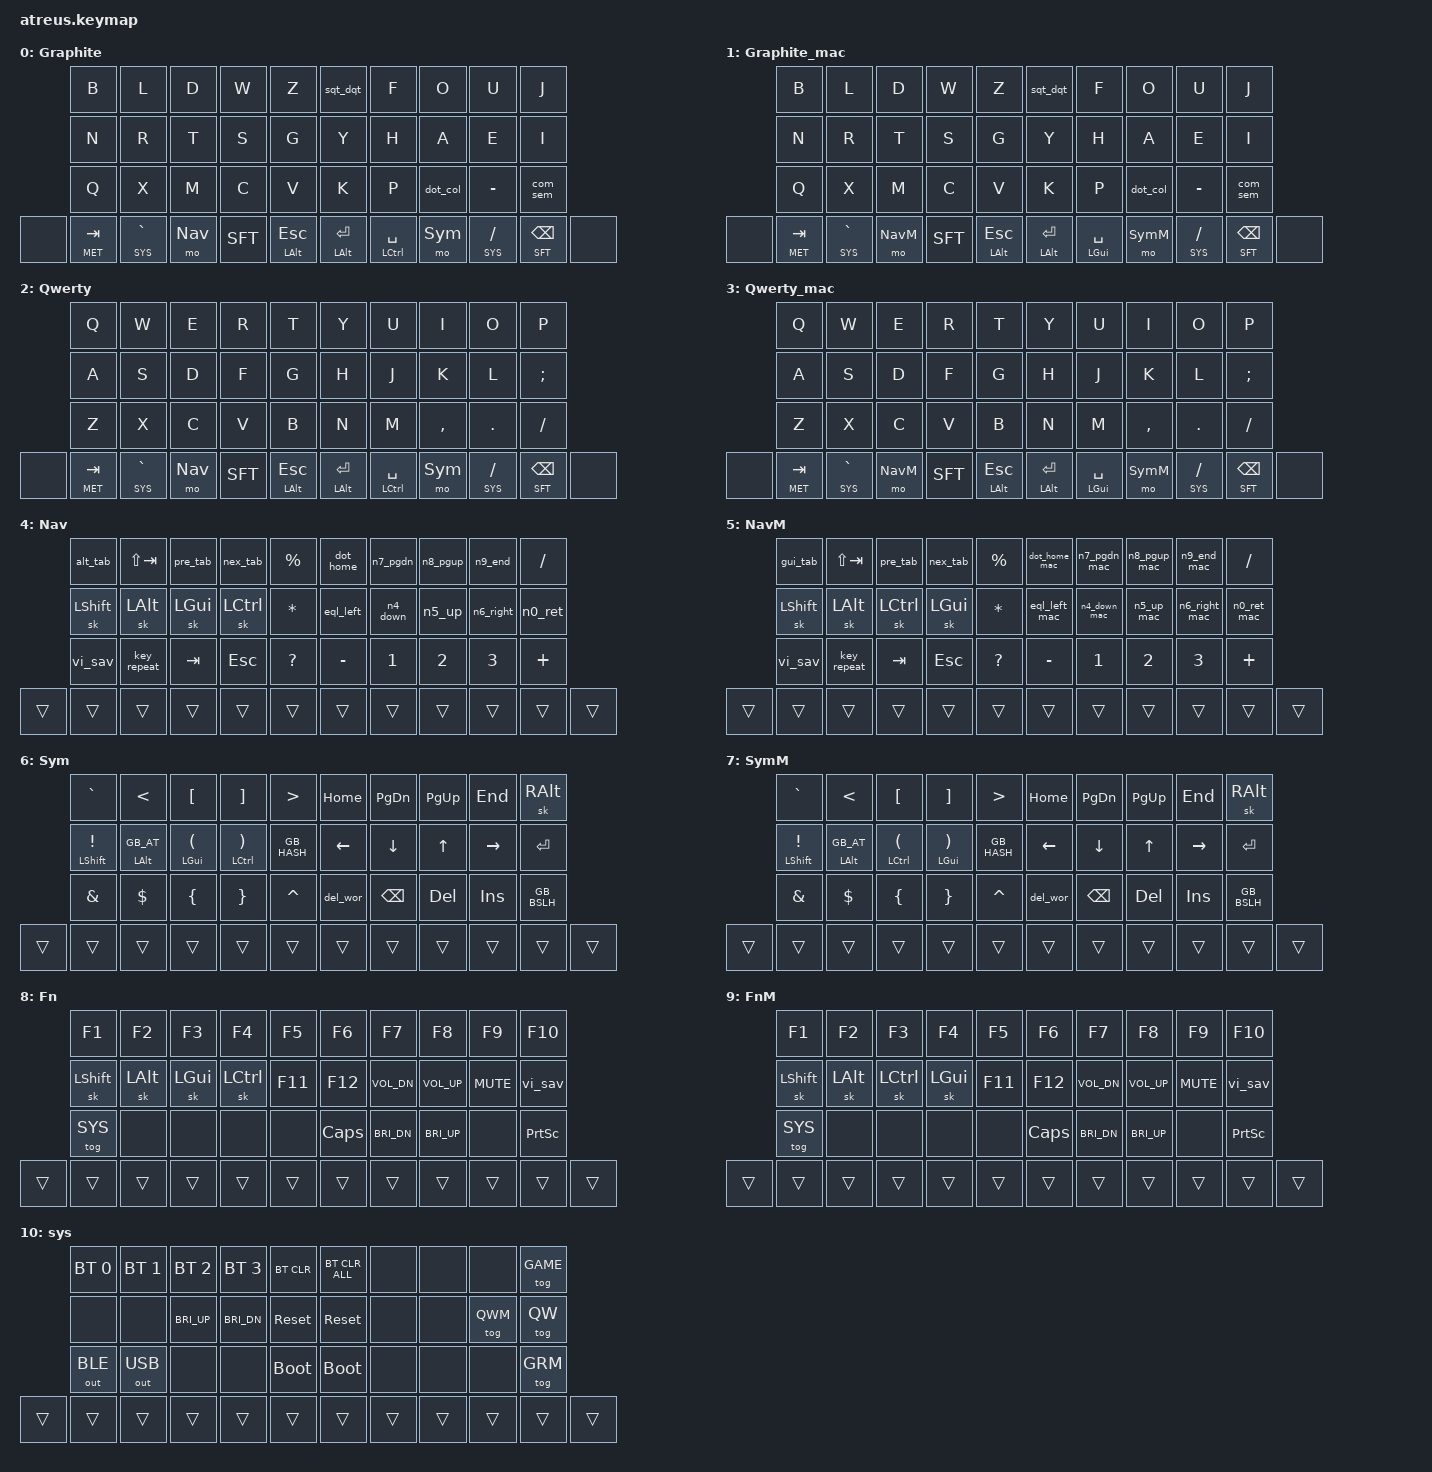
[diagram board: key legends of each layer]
// Auto-generated ZMK Keymap by Python zmk_gen system. DO NOT EDIT DIRECTLY.
#include <dt-bindings/zmk/keys.h>
#include <behaviors.dtsi>
#include <dt-bindings/zmk/bt.h>
#include <dt-bindings/zmk/outputs.h>
#include <zmk-helpers/helper.h>

#define PRIOR_IDLE_MS 160
#define QUICK_TAP_MS 175
#define TAPPING_TERM 200

#undef COMBO_TERM
#define COMBO_TERM 50

#define KEYS_L 0 1 2 3 4 10 11 12 13 14 20 21 22 23 24
#define KEYS_R 5 6 7 8 9 15 16 17 18 19 25 26 27 28 29
#define THUMBS 30 31 32 33 34 35 36 37 38 39 40 41

/* All Other Behaviors */
&sk {
    release-after-ms = <1000>;
    quick-release;
};

&lt {
    tapping-term-ms = <TAPPING_TERM>;
    quick-tap-ms = <QUICK_TAP_MS>;
    flavor = "hold-preferred";
};

&mt {
    tapping-term-ms = <TAPPING_TERM>;
    quick-tap-ms = <QUICK_TAP_MS>;
    flavor = "hold-preferred";
};

&caps_word {
    continue-list = <UNDERSCORE MINUS BACKSPACE DELETE>;
    /delete-property/ ignore-modifiers;
};

/* Layer ID Definitions */
#define Graphite 0
#define Graphite_mac 1
#define Qwerty 2
#define Qwerty_mac 3
#define Nav 4
#define NavM 5
#define Sym 6
#define SymM 7
#define Fn 8
#define FnM 9
#define sys 10

/ {
    macros {
        uc_deg: uc_deg {
            compatible = "zmk,behavior-macro";
            #binding-cells = <0>;
            bindings = <&kp RALT, &kp O, &kp O>;
        };
        uc_gbp: uc_gbp {
            compatible = "zmk,behavior-macro";
            #binding-cells = <0>;
            bindings = <&kp RALT, &kp LS(L), &kp EQL>;
        };
        uc_eur: uc_eur {
            compatible = "zmk,behavior-macro";
            #binding-cells = <0>;
            bindings = <&kp RALT, &kp C, &kp EQL>;
        };
        uc_rup: uc_rup {
            compatible = "zmk,behavior-macro";
            #binding-cells = <0>;
            bindings = <&kp RALT, &kp R, &kp EQL>;
        };
        vi_sav: vi_sav {
            compatible = "zmk,behavior-macro";
            #binding-cells = <0>;
            wait-ms = <20>;
            bindings = <&kp ESC, &kp COLON, &kp W, &kp RET>;
        };
        find: find {
            compatible = "zmk,behavior-macro";
            #binding-cells = <0>;
            bindings = <&kp LC(F)>;
        };
        pre_wor: pre_wor {
            compatible = "zmk,behavior-macro";
            #binding-cells = <0>;
            bindings = <&kp LC(LEFT)>;
        };
        nex_wor: nex_wor {
            compatible = "zmk,behavior-macro";
            #binding-cells = <0>;
            bindings = <&kp LC(RIGHT)>;
        };
        pre_tab: pre_tab {
            compatible = "zmk,behavior-macro";
            #binding-cells = <0>;
            bindings = <&kp LC(LS(TAB))>;
        };
        nex_tab: nex_tab {
            compatible = "zmk,behavior-macro";
            #binding-cells = <0>;
            bindings = <&kp LC(TAB)>;
        };
        pre_dsk: pre_dsk {
            compatible = "zmk,behavior-macro";
            #binding-cells = <0>;
            bindings = <&kp LC(LG(LEFT))>;
        };
        nex_dsk: nex_dsk {
            compatible = "zmk,behavior-macro";
            #binding-cells = <0>;
            bindings = <&kp LC(LG(RIGHT))>;
        };
        cut: cut {
            compatible = "zmk,behavior-macro";
            #binding-cells = <0>;
            bindings = <&kp LC(X)>;
        };
        copy: copy {
            compatible = "zmk,behavior-macro";
            #binding-cells = <0>;
            bindings = <&kp LC(C)>;
        };
        paste: paste {
            compatible = "zmk,behavior-macro";
            #binding-cells = <0>;
            bindings = <&kp LC(V)>;
        };
        half_dn: half_dn {
            compatible = "zmk,behavior-macro";
            #binding-cells = <0>;
            bindings = <&kp LC(D)>;
        };
        half_up: half_up {
            compatible = "zmk,behavior-macro";
            #binding-cells = <0>;
            bindings = <&kp LC(U)>;
        };
        del_wor: del_wor {
            compatible = "zmk,behavior-macro";
            #binding-cells = <0>;
            bindings = <&kp LC(BSPC)>;
        };
        macro_LCTL_Nav: macro_LCTL_Nav {
            compatible = "zmk,behavior-macro";
            #binding-cells = <0>;
            wait-ms = <0>;
            tap-ms = <0>;
            bindings
                = <&macro_press &mo Nav>
                , <&macro_press &sk LCTL>
                , <&macro_pause_for_release>
                , <&macro_release &sk LCTL>
                , <&macro_release &mo Nav>
                ;
        };
        macro_LGUI_NavM: macro_LGUI_NavM {
            compatible = "zmk,behavior-macro";
            #binding-cells = <0>;
            wait-ms = <0>;
            tap-ms = <0>;
            bindings
                = <&macro_press &mo NavM>
                , <&macro_press &sk LGUI>
                , <&macro_pause_for_release>
                , <&macro_release &sk LGUI>
                , <&macro_release &mo NavM>
                ;
        };
        macro_LGUI_Nav: macro_LGUI_Nav {
            compatible = "zmk,behavior-macro";
            #binding-cells = <0>;
            wait-ms = <0>;
            tap-ms = <0>;
            bindings
                = <&macro_press &mo Nav>
                , <&macro_press &sk LGUI>
                , <&macro_pause_for_release>
                , <&macro_release &sk LGUI>
                , <&macro_release &mo Nav>
                ;
        };
        macro_LCTL_NavM: macro_LCTL_NavM {
            compatible = "zmk,behavior-macro";
            #binding-cells = <0>;
            wait-ms = <0>;
            tap-ms = <0>;
            bindings
                = <&macro_press &mo NavM>
                , <&macro_press &sk LCTL>
                , <&macro_pause_for_release>
                , <&macro_release &sk LCTL>
                , <&macro_release &mo NavM>
                ;
        };
        macro_LALT_Nav: macro_LALT_Nav {
            compatible = "zmk,behavior-macro";
            #binding-cells = <0>;
            wait-ms = <0>;
            tap-ms = <0>;
            bindings
                = <&macro_press &mo Nav>
                , <&macro_press &sk LALT>
                , <&macro_pause_for_release>
                , <&macro_release &sk LALT>
                , <&macro_release &mo Nav>
                ;
        };
        macro_LSHFT_Nav: macro_LSHFT_Nav {
            compatible = "zmk,behavior-macro";
            #binding-cells = <0>;
            wait-ms = <0>;
            tap-ms = <0>;
            bindings
                = <&macro_press &mo Nav>
                , <&macro_press &sk LSHFT>
                , <&macro_pause_for_release>
                , <&macro_release &sk LSHFT>
                , <&macro_release &mo Nav>
                ;
        };
        macro_LGUI_LCTL_Nav: macro_LGUI_LCTL_Nav {
            compatible = "zmk,behavior-macro";
            #binding-cells = <0>;
            wait-ms = <0>;
            tap-ms = <0>;
            bindings
                = <&macro_press &mo Nav>
                , <&macro_press &sk LGUI>
                , <&macro_press &sk LCTL>
                , <&macro_pause_for_release>
                , <&macro_release &sk LCTL>
                , <&macro_release &sk LGUI>
                , <&macro_release &mo Nav>
                ;
        };
        macro_LCTL_LGUI_NavM: macro_LCTL_LGUI_NavM {
            compatible = "zmk,behavior-macro";
            #binding-cells = <0>;
            wait-ms = <0>;
            tap-ms = <0>;
            bindings
                = <&macro_press &mo NavM>
                , <&macro_press &sk LCTL>
                , <&macro_press &sk LGUI>
                , <&macro_pause_for_release>
                , <&macro_release &sk LGUI>
                , <&macro_release &sk LCTL>
                , <&macro_release &mo NavM>
                ;
        };
        macro_LGUI_LALT_Nav: macro_LGUI_LALT_Nav {
            compatible = "zmk,behavior-macro";
            #binding-cells = <0>;
            wait-ms = <0>;
            tap-ms = <0>;
            bindings
                = <&macro_press &mo Nav>
                , <&macro_press &sk LGUI>
                , <&macro_press &sk LALT>
                , <&macro_pause_for_release>
                , <&macro_release &sk LALT>
                , <&macro_release &sk LGUI>
                , <&macro_release &mo Nav>
                ;
        };
        macro_LCTL_LALT_NavM: macro_LCTL_LALT_NavM {
            compatible = "zmk,behavior-macro";
            #binding-cells = <0>;
            wait-ms = <0>;
            tap-ms = <0>;
            bindings
                = <&macro_press &mo NavM>
                , <&macro_press &sk LCTL>
                , <&macro_press &sk LALT>
                , <&macro_pause_for_release>
                , <&macro_release &sk LALT>
                , <&macro_release &sk LCTL>
                , <&macro_release &mo NavM>
                ;
        };
        macro_LGUI_LSHFT_Nav: macro_LGUI_LSHFT_Nav {
            compatible = "zmk,behavior-macro";
            #binding-cells = <0>;
            wait-ms = <0>;
            tap-ms = <0>;
            bindings
                = <&macro_press &mo Nav>
                , <&macro_press &sk LGUI>
                , <&macro_press &sk LSHFT>
                , <&macro_pause_for_release>
                , <&macro_release &sk LSHFT>
                , <&macro_release &sk LGUI>
                , <&macro_release &mo Nav>
                ;
        };
        macro_LCTL_LSHFT_NavM: macro_LCTL_LSHFT_NavM {
            compatible = "zmk,behavior-macro";
            #binding-cells = <0>;
            wait-ms = <0>;
            tap-ms = <0>;
            bindings
                = <&macro_press &mo NavM>
                , <&macro_press &sk LCTL>
                , <&macro_press &sk LSHFT>
                , <&macro_pause_for_release>
                , <&macro_release &sk LSHFT>
                , <&macro_release &sk LCTL>
                , <&macro_release &mo NavM>
                ;
        };
        macro_LCTL_LALT_Nav: macro_LCTL_LALT_Nav {
            compatible = "zmk,behavior-macro";
            #binding-cells = <0>;
            wait-ms = <0>;
            tap-ms = <0>;
            bindings
                = <&macro_press &mo Nav>
                , <&macro_press &sk LCTL>
                , <&macro_press &sk LALT>
                , <&macro_pause_for_release>
                , <&macro_release &sk LALT>
                , <&macro_release &sk LCTL>
                , <&macro_release &mo Nav>
                ;
        };
        macro_LGUI_LALT_NavM: macro_LGUI_LALT_NavM {
            compatible = "zmk,behavior-macro";
            #binding-cells = <0>;
            wait-ms = <0>;
            tap-ms = <0>;
            bindings
                = <&macro_press &mo NavM>
                , <&macro_press &sk LGUI>
                , <&macro_press &sk LALT>
                , <&macro_pause_for_release>
                , <&macro_release &sk LALT>
                , <&macro_release &sk LGUI>
                , <&macro_release &mo NavM>
                ;
        };
        macro_LCTL_LSHFT_Nav: macro_LCTL_LSHFT_Nav {
            compatible = "zmk,behavior-macro";
            #binding-cells = <0>;
            wait-ms = <0>;
            tap-ms = <0>;
            bindings
                = <&macro_press &mo Nav>
                , <&macro_press &sk LCTL>
                , <&macro_press &sk LSHFT>
                , <&macro_pause_for_release>
                , <&macro_release &sk LSHFT>
                , <&macro_release &sk LCTL>
                , <&macro_release &mo Nav>
                ;
        };
        macro_LGUI_LSHFT_NavM: macro_LGUI_LSHFT_NavM {
            compatible = "zmk,behavior-macro";
            #binding-cells = <0>;
            wait-ms = <0>;
            tap-ms = <0>;
            bindings
                = <&macro_press &mo NavM>
                , <&macro_press &sk LGUI>
                , <&macro_press &sk LSHFT>
                , <&macro_pause_for_release>
                , <&macro_release &sk LSHFT>
                , <&macro_release &sk LGUI>
                , <&macro_release &mo NavM>
                ;
        };
        macro_LCTL_Sym: macro_LCTL_Sym {
            compatible = "zmk,behavior-macro";
            #binding-cells = <0>;
            wait-ms = <0>;
            tap-ms = <0>;
            bindings
                = <&macro_press &mo Sym>
                , <&macro_press &sk LCTL>
                , <&macro_pause_for_release>
                , <&macro_release &sk LCTL>
                , <&macro_release &mo Sym>
                ;
        };
        macro_LGUI_SymM: macro_LGUI_SymM {
            compatible = "zmk,behavior-macro";
            #binding-cells = <0>;
            wait-ms = <0>;
            tap-ms = <0>;
            bindings
                = <&macro_press &mo SymM>
                , <&macro_press &sk LGUI>
                , <&macro_pause_for_release>
                , <&macro_release &sk LGUI>
                , <&macro_release &mo SymM>
                ;
        };
        macro_LGUI_Sym: macro_LGUI_Sym {
            compatible = "zmk,behavior-macro";
            #binding-cells = <0>;
            wait-ms = <0>;
            tap-ms = <0>;
            bindings
                = <&macro_press &mo Sym>
                , <&macro_press &sk LGUI>
                , <&macro_pause_for_release>
                , <&macro_release &sk LGUI>
                , <&macro_release &mo Sym>
                ;
        };
        macro_LCTL_SymM: macro_LCTL_SymM {
            compatible = "zmk,behavior-macro";
            #binding-cells = <0>;
            wait-ms = <0>;
            tap-ms = <0>;
            bindings
                = <&macro_press &mo SymM>
                , <&macro_press &sk LCTL>
                , <&macro_pause_for_release>
                , <&macro_release &sk LCTL>
                , <&macro_release &mo SymM>
                ;
        };
        macro_LALT_Sym: macro_LALT_Sym {
            compatible = "zmk,behavior-macro";
            #binding-cells = <0>;
            wait-ms = <0>;
            tap-ms = <0>;
            bindings
                = <&macro_press &mo Sym>
                , <&macro_press &sk LALT>
                , <&macro_pause_for_release>
                , <&macro_release &sk LALT>
                , <&macro_release &mo Sym>
                ;
        };
        macro_LSHFT_Sym: macro_LSHFT_Sym {
            compatible = "zmk,behavior-macro";
            #binding-cells = <0>;
            wait-ms = <0>;
            tap-ms = <0>;
            bindings
                = <&macro_press &mo Sym>
                , <&macro_press &sk LSHFT>
                , <&macro_pause_for_release>
                , <&macro_release &sk LSHFT>
                , <&macro_release &mo Sym>
                ;
        };
        macro_LGUI_LCTL_Sym: macro_LGUI_LCTL_Sym {
            compatible = "zmk,behavior-macro";
            #binding-cells = <0>;
            wait-ms = <0>;
            tap-ms = <0>;
            bindings
                = <&macro_press &mo Sym>
                , <&macro_press &sk LGUI>
                , <&macro_press &sk LCTL>
                , <&macro_pause_for_release>
                , <&macro_release &sk LCTL>
                , <&macro_release &sk LGUI>
                , <&macro_release &mo Sym>
                ;
        };
        macro_LCTL_LGUI_SymM: macro_LCTL_LGUI_SymM {
            compatible = "zmk,behavior-macro";
            #binding-cells = <0>;
            wait-ms = <0>;
            tap-ms = <0>;
            bindings
                = <&macro_press &mo SymM>
                , <&macro_press &sk LCTL>
                , <&macro_press &sk LGUI>
                , <&macro_pause_for_release>
                , <&macro_release &sk LGUI>
                , <&macro_release &sk LCTL>
                , <&macro_release &mo SymM>
                ;
        };
        macro_LGUI_LALT_Sym: macro_LGUI_LALT_Sym {
            compatible = "zmk,behavior-macro";
            #binding-cells = <0>;
            wait-ms = <0>;
            tap-ms = <0>;
            bindings
                = <&macro_press &mo Sym>
                , <&macro_press &sk LGUI>
                , <&macro_press &sk LALT>
                , <&macro_pause_for_release>
                , <&macro_release &sk LALT>
                , <&macro_release &sk LGUI>
                , <&macro_release &mo Sym>
                ;
        };
        macro_LCTL_LALT_SymM: macro_LCTL_LALT_SymM {
            compatible = "zmk,behavior-macro";
            #binding-cells = <0>;
            wait-ms = <0>;
            tap-ms = <0>;
            bindings
                = <&macro_press &mo SymM>
                , <&macro_press &sk LCTL>
                , <&macro_press &sk LALT>
                , <&macro_pause_for_release>
                , <&macro_release &sk LALT>
                , <&macro_release &sk LCTL>
                , <&macro_release &mo SymM>
                ;
        };
        macro_LGUI_LSHFT_Sym: macro_LGUI_LSHFT_Sym {
            compatible = "zmk,behavior-macro";
            #binding-cells = <0>;
            wait-ms = <0>;
            tap-ms = <0>;
            bindings
                = <&macro_press &mo Sym>
                , <&macro_press &sk LGUI>
                , <&macro_press &sk LSHFT>
                , <&macro_pause_for_release>
                , <&macro_release &sk LSHFT>
                , <&macro_release &sk LGUI>
                , <&macro_release &mo Sym>
                ;
        };
        macro_LCTL_LSHFT_SymM: macro_LCTL_LSHFT_SymM {
            compatible = "zmk,behavior-macro";
            #binding-cells = <0>;
            wait-ms = <0>;
            tap-ms = <0>;
            bindings
                = <&macro_press &mo SymM>
                , <&macro_press &sk LCTL>
                , <&macro_press &sk LSHFT>
                , <&macro_pause_for_release>
                , <&macro_release &sk LSHFT>
                , <&macro_release &sk LCTL>
                , <&macro_release &mo SymM>
                ;
        };
        macro_LCTL_LALT_Sym: macro_LCTL_LALT_Sym {
            compatible = "zmk,behavior-macro";
            #binding-cells = <0>;
            wait-ms = <0>;
            tap-ms = <0>;
            bindings
                = <&macro_press &mo Sym>
                , <&macro_press &sk LCTL>
                , <&macro_press &sk LALT>
                , <&macro_pause_for_release>
                , <&macro_release &sk LALT>
                , <&macro_release &sk LCTL>
                , <&macro_release &mo Sym>
                ;
        };
        macro_LGUI_LALT_SymM: macro_LGUI_LALT_SymM {
            compatible = "zmk,behavior-macro";
            #binding-cells = <0>;
            wait-ms = <0>;
            tap-ms = <0>;
            bindings
                = <&macro_press &mo SymM>
                , <&macro_press &sk LGUI>
                , <&macro_press &sk LALT>
                , <&macro_pause_for_release>
                , <&macro_release &sk LALT>
                , <&macro_release &sk LGUI>
                , <&macro_release &mo SymM>
                ;
        };
        macro_LCTL_LSHFT_Sym: macro_LCTL_LSHFT_Sym {
            compatible = "zmk,behavior-macro";
            #binding-cells = <0>;
            wait-ms = <0>;
            tap-ms = <0>;
            bindings
                = <&macro_press &mo Sym>
                , <&macro_press &sk LCTL>
                , <&macro_press &sk LSHFT>
                , <&macro_pause_for_release>
                , <&macro_release &sk LSHFT>
                , <&macro_release &sk LCTL>
                , <&macro_release &mo Sym>
                ;
        };
        macro_LGUI_LSHFT_SymM: macro_LGUI_LSHFT_SymM {
            compatible = "zmk,behavior-macro";
            #binding-cells = <0>;
            wait-ms = <0>;
            tap-ms = <0>;
            bindings
                = <&macro_press &mo SymM>
                , <&macro_press &sk LGUI>
                , <&macro_press &sk LSHFT>
                , <&macro_pause_for_release>
                , <&macro_release &sk LSHFT>
                , <&macro_release &sk LGUI>
                , <&macro_release &mo SymM>
                ;
        };
    };
};

/ {
    behaviors {
        hrm_l: hrm_l {
            compatible = "zmk,behavior-hold-tap";
            #binding-cells = <2>;
            flavor = "tap-preferred";
            tapping-term-ms = <TAPPING_TERM>;
            quick-tap-ms = <QUICK_TAP_MS>;
            require-prior-idle-ms = <PRIOR_IDLE_MS>;
            bindings = <&kp>, <&kp>;
            hold-trigger-key-positions = <KEYS_R THUMBS>;
        };
        hrm_r: hrm_r {
            compatible = "zmk,behavior-hold-tap";
            #binding-cells = <2>;
            flavor = "tap-preferred";
            tapping-term-ms = <TAPPING_TERM>;
            quick-tap-ms = <QUICK_TAP_MS>;
            require-prior-idle-ms = <PRIOR_IDLE_MS>;
            bindings = <&kp>, <&kp>;
            hold-trigger-key-positions = <KEYS_L THUMBS>;
        };
        hrl_l: hrl_l {
            compatible = "zmk,behavior-hold-tap";
            #binding-cells = <2>;
            flavor = "tap-preferred";
            tapping-term-ms = <TAPPING_TERM>;
            quick-tap-ms = <QUICK_TAP_MS>;
            require-prior-idle-ms = <PRIOR_IDLE_MS>;
            bindings = <&mo>, <&kp>;
            hold-trigger-key-positions = <KEYS_R THUMBS>;
        };
        hrl_r: hrl_r {
            compatible = "zmk,behavior-hold-tap";
            #binding-cells = <2>;
            flavor = "tap-preferred";
            tapping-term-ms = <TAPPING_TERM>;
            quick-tap-ms = <QUICK_TAP_MS>;
            require-prior-idle-ms = <PRIOR_IDLE_MS>;
            bindings = <&mo>, <&kp>;
            hold-trigger-key-positions = <KEYS_L THUMBS>;
        };
        thm: thm {
            compatible = "zmk,behavior-hold-tap";
            #binding-cells = <2>;
            flavor = "tap-preferred";
            tapping-term-ms = <TAPPING_TERM>;
            quick-tap-ms = <QUICK_TAP_MS>;
            require-prior-idle-ms = <PRIOR_IDLE_MS>;
            bindings = <&kp>, <&kp>;
            hold-trigger-key-positions = <KEYS_L KEYS_R>;
        };
        thl: thl {
            compatible = "zmk,behavior-hold-tap";
            #binding-cells = <2>;
            flavor = "tap-preferred";
            tapping-term-ms = <TAPPING_TERM>;
            quick-tap-ms = <QUICK_TAP_MS>;
            require-prior-idle-ms = <PRIOR_IDLE_MS>;
            bindings = <&mo>, <&kp>;
            hold-trigger-key-positions = <KEYS_L KEYS_R>;
        };
        kt_off: kt_off {
            compatible = "zmk,behavior-key-toggle";
            #binding-cells = <1>;
            toggle-mode = "off";
        };
        kt_on: kt_on {
            compatible = "zmk,behavior-key-toggle";
            #binding-cells = <1>;
            toggle-mode = "on";
        };
        bsdel: bsdel {
            compatible = "zmk,behavior-mod-morph";
            #binding-cells = <0>;
            bindings = <&kp BACKSPACE>, <&kp DELETE>;
            mods = <(LALT|MOD_LGUI|LSHFT)>;
        };
        bsdel_mac: bsdel_mac {
            compatible = "zmk,behavior-mod-morph";
            #binding-cells = <0>;
            bindings = <&kp BACKSPACE>, <&kp DELETE>;
            mods = <(LALT|MOD_LCTL|LSHFT)>;
        };
        dlr_gbp: dlr_gbp {
            compatible = "zmk,behavior-mod-morph";
            #binding-cells = <0>;
            bindings = <&kp DLLR>, <&uc_gbp>;
            mods = <(MOD_LSFT|MOD_RSFT)>;
        };
        amps_eur: amps_eur {
            compatible = "zmk,behavior-mod-morph";
            #binding-cells = <0>;
            bindings = <&kp AMPS>, <&uc_eur>;
            mods = <(MOD_LSFT|MOD_RSFT)>;
        };
        star_rup: star_rup {
            compatible = "zmk,behavior-mod-morph";
            #binding-cells = <0>;
            bindings = <&kp STAR>, <&uc_rup>;
            mods = <(MOD_LSFT|MOD_RSFT)>;
        };
        dot_col: dot_col {
            compatible = "zmk,behavior-mod-morph";
            #binding-cells = <0>;
            bindings = <&kp DOT>, <&kp COLON>;
            mods = <(LSHFT)>;
        };
        com_sem: com_sem {
            compatible = "zmk,behavior-mod-morph";
            #binding-cells = <0>;
            bindings = <&kp COMMA>, <&kp SEMICOLON>;
            mods = <(LSHFT)>;
        };
        sqt_dqt: sqt_dqt {
            compatible = "zmk,behavior-mod-morph";
            #binding-cells = <0>;
            bindings = <&kp SQT>, <&kp GB_DQT>;
            mods = <(LSHFT)>;
        };
        lpar_lt: lpar_lt {
            compatible = "zmk,behavior-mod-morph";
            #binding-cells = <0>;
            bindings = <&kp LPAR>, <&kp LT>;
            mods = <(LSHFT)>;
        };
        rpar_gt: rpar_gt {
            compatible = "zmk,behavior-mod-morph";
            #binding-cells = <0>;
            bindings = <&kp RPAR>, <&kp GT>;
            mods = <(LSHFT)>;
        };
        eql_left: eql_left {
            compatible = "zmk,behavior-mod-morph";
            #binding-cells = <0>;
            bindings = <&kp EQUAL>, <&kp LEFT>;
            mods = <(MOD_LGUI|LALT)>;
            keep-mods = <(MOD_LGUI|LALT)>;
        };
        eql_left_mac: eql_left_mac {
            compatible = "zmk,behavior-mod-morph";
            #binding-cells = <0>;
            bindings = <&kp EQUAL>, <&kp LEFT>;
            mods = <(MOD_LCTL|LALT)>;
            keep-mods = <(MOD_LCTL|LALT)>;
        };
        n4_down: n4_down {
            compatible = "zmk,behavior-mod-morph";
            #binding-cells = <0>;
            bindings = <&kp N4>, <&kp DOWN>;
            mods = <(MOD_LGUI|LALT)>;
            keep-mods = <(MOD_LGUI|LALT)>;
        };
        n4_down_mac: n4_down_mac {
            compatible = "zmk,behavior-mod-morph";
            #binding-cells = <0>;
            bindings = <&kp N4>, <&kp DOWN>;
            mods = <(MOD_LCTL|LALT)>;
            keep-mods = <(MOD_LCTL|LALT)>;
        };
        n5_up: n5_up {
            compatible = "zmk,behavior-mod-morph";
            #binding-cells = <0>;
            bindings = <&kp N5>, <&kp UP>;
            mods = <(MOD_LGUI|LALT)>;
            keep-mods = <(MOD_LGUI|LALT)>;
        };
        n5_up_mac: n5_up_mac {
            compatible = "zmk,behavior-mod-morph";
            #binding-cells = <0>;
            bindings = <&kp N5>, <&kp UP>;
            mods = <(MOD_LCTL|LALT)>;
            keep-mods = <(MOD_LCTL|LALT)>;
        };
        n6_right: n6_right {
            compatible = "zmk,behavior-mod-morph";
            #binding-cells = <0>;
            bindings = <&kp N6>, <&kp RIGHT>;
            mods = <(MOD_LGUI|LALT)>;
            keep-mods = <(MOD_LGUI|LALT)>;
        };
        n6_right_mac: n6_right_mac {
            compatible = "zmk,behavior-mod-morph";
            #binding-cells = <0>;
            bindings = <&kp N6>, <&kp RIGHT>;
            mods = <(MOD_LCTL|LALT)>;
            keep-mods = <(MOD_LCTL|LALT)>;
        };
        n0_ret: n0_ret {
            compatible = "zmk,behavior-mod-morph";
            #binding-cells = <0>;
            bindings = <&kp N0>, <&kp RET>;
            mods = <(MOD_LGUI|LALT)>;
            keep-mods = <(MOD_LGUI|LALT)>;
        };
        n0_ret_mac: n0_ret_mac {
            compatible = "zmk,behavior-mod-morph";
            #binding-cells = <0>;
            bindings = <&kp N0>, <&kp RET>;
            mods = <(MOD_LCTL|LALT)>;
            keep-mods = <(MOD_LCTL|LALT)>;
        };
        n7_pgdn: n7_pgdn {
            compatible = "zmk,behavior-mod-morph";
            #binding-cells = <0>;
            bindings = <&kp N7>, <&kp PG_DN>;
            mods = <(MOD_LGUI|LALT)>;
            keep-mods = <(MOD_LGUI|LALT)>;
        };
        n7_pgdn_mac: n7_pgdn_mac {
            compatible = "zmk,behavior-mod-morph";
            #binding-cells = <0>;
            bindings = <&kp N7>, <&kp PG_DN>;
            mods = <(MOD_LCTL|LALT)>;
            keep-mods = <(MOD_LCTL|LALT)>;
        };
        n8_pgup: n8_pgup {
            compatible = "zmk,behavior-mod-morph";
            #binding-cells = <0>;
            bindings = <&kp N8>, <&kp PG_UP>;
            mods = <(MOD_LGUI|LALT)>;
            keep-mods = <(MOD_LGUI|LALT)>;
        };
        n8_pgup_mac: n8_pgup_mac {
            compatible = "zmk,behavior-mod-morph";
            #binding-cells = <0>;
            bindings = <&kp N8>, <&kp PG_UP>;
            mods = <(MOD_LCTL|LALT)>;
            keep-mods = <(MOD_LCTL|LALT)>;
        };
        dot_home: dot_home {
            compatible = "zmk,behavior-mod-morph";
            #binding-cells = <0>;
            bindings = <&kp DOT>, <&kp HOME>;
            mods = <(MOD_LGUI|LALT)>;
            keep-mods = <(MOD_LGUI|LALT)>;
        };
        dot_home_mac: dot_home_mac {
            compatible = "zmk,behavior-mod-morph";
            #binding-cells = <0>;
            bindings = <&kp DOT>, <&kp HOME>;
            mods = <(MOD_LCTL|LALT)>;
            keep-mods = <(MOD_LCTL|LALT)>;
        };
        n9_end: n9_end {
            compatible = "zmk,behavior-mod-morph";
            #binding-cells = <0>;
            bindings = <&kp N9>, <&kp END>;
            mods = <(MOD_LGUI|LALT)>;
            keep-mods = <(MOD_LGUI|LALT)>;
        };
        n9_end_mac: n9_end_mac {
            compatible = "zmk,behavior-mod-morph";
            #binding-cells = <0>;
            bindings = <&kp N9>, <&kp END>;
            mods = <(MOD_LCTL|LALT)>;
            keep-mods = <(MOD_LCTL|LALT)>;
        };
        alt_tab: alt_tab {
            compatible = "zmk,behavior-tri-state";
            #binding-cells = <0>;
            bindings = <&kt_on LALT>, <&kp TAB>, <&kt_off LALT>;
            ignored-key-positions = <1>;
        };
        ctl_tab: ctl_tab {
            compatible = "zmk,behavior-tri-state";
            #binding-cells = <0>;
            bindings = <&kt_on LCTL>, <&kp TAB>, <&kt_off LCTL>;
            ignored-key-positions = <1>;
        };
        gui_tab: gui_tab {
            compatible = "zmk,behavior-tri-state";
            #binding-cells = <0>;
            bindings = <&kt_on LGUI>, <&kp TAB>, <&kt_off LGUI>;
            ignored-key-positions = <1>;
        };
    };
};

/ {
    combos {
        compatible = "zmk,combos";
        combo_degree {
            timeout-ms = <COMBO_TERM>;
            key-positions = <0 10>;
            bindings = <&uc_deg>;
        };
        combo_bootloader {
            timeout-ms = <COMBO_TERM>;
            key-positions = <4 3 6 5>;
            bindings = <&bootloader>;
        };
        combo_reset {
            timeout-ms = <COMBO_TERM>;
            key-positions = <4 5>;
            bindings = <&sys_reset>;
        };
        combo_LCTL_Nav {
            timeout-ms = <COMBO_TERM>;
            key-positions = <34 13>;
            bindings = <&macro_LCTL_Nav>;
            layers = <0 2>;
            slow-release;
        };
        combo_LGUI_NavM {
            timeout-ms = <COMBO_TERM>;
            key-positions = <34 13>;
            bindings = <&macro_LGUI_NavM>;
            layers = <1 3>;
            slow-release;
        };
        combo_LGUI_Nav {
            timeout-ms = <COMBO_TERM>;
            key-positions = <34 12>;
            bindings = <&macro_LGUI_Nav>;
            layers = <0 2>;
            slow-release;
        };
        combo_LCTL_NavM {
            timeout-ms = <COMBO_TERM>;
            key-positions = <34 12>;
            bindings = <&macro_LCTL_NavM>;
            layers = <1 3>;
            slow-release;
        };
        combo_LALT_Nav {
            timeout-ms = <COMBO_TERM>;
            key-positions = <34 11>;
            bindings = <&macro_LALT_Nav>;
            layers = <0 2>;
            slow-release;
        };
        combo_LSHFT_Nav {
            timeout-ms = <COMBO_TERM>;
            key-positions = <34 10>;
            bindings = <&macro_LSHFT_Nav>;
            layers = <0 2>;
            slow-release;
        };
        combo_LGUI_LCTL_Nav {
            timeout-ms = <COMBO_TERM>;
            key-positions = <34 12 13>;
            bindings = <&macro_LGUI_LCTL_Nav>;
            layers = <0 2>;
            slow-release;
        };
        combo_LCTL_LGUI_NavM {
            timeout-ms = <COMBO_TERM>;
            key-positions = <34 12 13>;
            bindings = <&macro_LCTL_LGUI_NavM>;
            layers = <1 3>;
            slow-release;
        };
        combo_LGUI_LALT_Nav {
            timeout-ms = <COMBO_TERM>;
            key-positions = <34 12 11>;
            bindings = <&macro_LGUI_LALT_Nav>;
            layers = <0 2>;
            slow-release;
        };
        combo_LCTL_LALT_NavM {
            timeout-ms = <COMBO_TERM>;
            key-positions = <34 12 11>;
            bindings = <&macro_LCTL_LALT_NavM>;
            layers = <1 3>;
            slow-release;
        };
        combo_LGUI_LSHFT_Nav {
            timeout-ms = <COMBO_TERM>;
            key-positions = <34 12 10>;
            bindings = <&macro_LGUI_LSHFT_Nav>;
            layers = <0 2>;
            slow-release;
        };
        combo_LCTL_LSHFT_NavM {
            timeout-ms = <COMBO_TERM>;
            key-positions = <34 12 10>;
            bindings = <&macro_LCTL_LSHFT_NavM>;
            layers = <1 3>;
            slow-release;
        };
        combo_LCTL_LALT_Nav {
            timeout-ms = <COMBO_TERM>;
            key-positions = <34 13 11>;
            bindings = <&macro_LCTL_LALT_Nav>;
            layers = <0 2>;
            slow-release;
        };
        combo_LGUI_LALT_NavM {
            timeout-ms = <COMBO_TERM>;
            key-positions = <34 13 11>;
            bindings = <&macro_LGUI_LALT_NavM>;
            layers = <1 3>;
            slow-release;
        };
        combo_LCTL_LSHFT_Nav {
            timeout-ms = <COMBO_TERM>;
            key-positions = <34 13 10>;
            bindings = <&macro_LCTL_LSHFT_Nav>;
            layers = <0 2>;
            slow-release;
        };
        combo_LGUI_LSHFT_NavM {
            timeout-ms = <COMBO_TERM>;
            key-positions = <34 13 10>;
            bindings = <&macro_LGUI_LSHFT_NavM>;
            layers = <1 3>;
            slow-release;
        };
        combo_LCTL_Sym {
            timeout-ms = <COMBO_TERM>;
            key-positions = <37 13>;
            bindings = <&macro_LCTL_Sym>;
            layers = <0 2>;
            slow-release;
        };
        combo_LGUI_SymM {
            timeout-ms = <COMBO_TERM>;
            key-positions = <37 13>;
            bindings = <&macro_LGUI_SymM>;
            layers = <1 3>;
            slow-release;
        };
        combo_LGUI_Sym {
            timeout-ms = <COMBO_TERM>;
            key-positions = <37 12>;
            bindings = <&macro_LGUI_Sym>;
            layers = <0 2>;
            slow-release;
        };
        combo_LCTL_SymM {
            timeout-ms = <COMBO_TERM>;
            key-positions = <37 12>;
            bindings = <&macro_LCTL_SymM>;
            layers = <1 3>;
            slow-release;
        };
        combo_LALT_Sym {
            timeout-ms = <COMBO_TERM>;
            key-positions = <37 11>;
            bindings = <&macro_LALT_Sym>;
            layers = <0 2>;
            slow-release;
        };
        combo_LSHFT_Sym {
            timeout-ms = <COMBO_TERM>;
            key-positions = <37 10>;
            bindings = <&macro_LSHFT_Sym>;
            layers = <0 2>;
            slow-release;
        };
        combo_LGUI_LCTL_Sym {
            timeout-ms = <COMBO_TERM>;
            key-positions = <37 12 13>;
            bindings = <&macro_LGUI_LCTL_Sym>;
            layers = <0 2>;
            slow-release;
        };
        combo_LCTL_LGUI_SymM {
            timeout-ms = <COMBO_TERM>;
            key-positions = <37 12 13>;
            bindings = <&macro_LCTL_LGUI_SymM>;
            layers = <1 3>;
            slow-release;
        };
        combo_LGUI_LALT_Sym {
            timeout-ms = <COMBO_TERM>;
            key-positions = <37 12 11>;
            bindings = <&macro_LGUI_LALT_Sym>;
            layers = <0 2>;
            slow-release;
        };
        combo_LCTL_LALT_SymM {
            timeout-ms = <COMBO_TERM>;
            key-positions = <37 12 11>;
            bindings = <&macro_LCTL_LALT_SymM>;
            layers = <1 3>;
            slow-release;
        };
        combo_LGUI_LSHFT_Sym {
            timeout-ms = <COMBO_TERM>;
            key-positions = <37 12 10>;
            bindings = <&macro_LGUI_LSHFT_Sym>;
            layers = <0 2>;
            slow-release;
        };
        combo_LCTL_LSHFT_SymM {
            timeout-ms = <COMBO_TERM>;
            key-positions = <37 12 10>;
            bindings = <&macro_LCTL_LSHFT_SymM>;
            layers = <1 3>;
            slow-release;
        };
        combo_LCTL_LALT_Sym {
            timeout-ms = <COMBO_TERM>;
            key-positions = <37 13 11>;
            bindings = <&macro_LCTL_LALT_Sym>;
            layers = <0 2>;
            slow-release;
        };
        combo_LGUI_LALT_SymM {
            timeout-ms = <COMBO_TERM>;
            key-positions = <37 13 11>;
            bindings = <&macro_LGUI_LALT_SymM>;
            layers = <1 3>;
            slow-release;
        };
        combo_LCTL_LSHFT_Sym {
            timeout-ms = <COMBO_TERM>;
            key-positions = <37 13 10>;
            bindings = <&macro_LCTL_LSHFT_Sym>;
            layers = <0 2>;
            slow-release;
        };
        combo_LGUI_LSHFT_SymM {
            timeout-ms = <COMBO_TERM>;
            key-positions = <37 13 10>;
            bindings = <&macro_LGUI_LSHFT_SymM>;
            layers = <1 3>;
            slow-release;
        };
    };
};

/ {
    keymap {
        compatible = "zmk,keymap";

        Graphite {
            bindings = <
                &kp B &kp L &kp D &kp W &kp Z /**/ &sqt_dqt &kp F &kp O    &kp U     &kp J   
                &kp N &kp R &kp T &kp S &kp G /**/ &kp Y    &kp H &kp A    &kp E     &kp I   
                &kp Q &kp X &kp M &kp C &kp V /**/ &kp K    &kp P &dot_col &kp MINUS &com_sem
                &none &mt MET TAB &lt SYS GRAVE &mo Nav &kp SFT &mt LALT ESC /**/ &mt LALT RET &thm LCTL SPC &mo Sym &lt SYS FSLH &mt SFT BSPC &none
            >;
        };
        Graphite_mac {
            bindings = <
                &kp B &kp L &kp D &kp W &kp Z /**/ &sqt_dqt &kp F &kp O    &kp U     &kp J   
                &kp N &kp R &kp T &kp S &kp G /**/ &kp Y    &kp H &kp A    &kp E     &kp I   
                &kp Q &kp X &kp M &kp C &kp V /**/ &kp K    &kp P &dot_col &kp MINUS &com_sem
                &none &mt MET TAB &lt SYS GRAVE &mo NavM &kp SFT &mt LALT ESC /**/ &mt LALT RET &thm LGUI SPC &mo SymM &lt SYS FSLH &mt SFT BSPC &none
            >;
        };
        Qwerty {
            bindings = <
                &kp Q &kp W &kp E &kp R &kp T /**/ &kp Y &kp U &kp I     &kp O   &kp P   
                &kp A &kp S &kp D &kp F &kp G /**/ &kp H &kp J &kp K     &kp L   &kp SEMI
                &kp Z &kp X &kp C &kp V &kp B /**/ &kp N &kp M &kp COMMA &kp DOT &kp FSLH
                &none &mt MET TAB &lt SYS GRAVE &mo Nav &kp SFT &mt LALT ESC /**/ &mt LALT RET &thm LCTL SPC &mo Sym &lt SYS FSLH &mt SFT BSPC &none
            >;
        };
        Qwerty_mac {
            bindings = <
                &kp Q &kp W &kp E &kp R &kp T /**/ &kp Y &kp U &kp I     &kp O   &kp P   
                &kp A &kp S &kp D &kp F &kp G /**/ &kp H &kp J &kp K     &kp L   &kp SEMI
                &kp Z &kp X &kp C &kp V &kp B /**/ &kp N &kp M &kp COMMA &kp DOT &kp FSLH
                &none &mt MET TAB &lt SYS GRAVE &mo NavM &kp SFT &mt LALT ESC /**/ &mt LALT RET &thm LGUI SPC &mo SymM &lt SYS FSLH &mt SFT BSPC &none
            >;
        };
        Nav {
            bindings = <
                &alt_tab  &kp LS(TAB) &pre_tab &nex_tab &kp PRCNT /**/ &dot_home &n7_pgdn &n8_pgup &n9_end   &kp FSLH
                &sk LSHFT &sk LALT    &sk LGUI &sk LCTL &kp STAR  /**/ &eql_left &n4_down &n5_up   &n6_right &n0_ret 
                &vi_sav   &key_repeat &kp TAB  &kp ESC  &kp QMARK /**/ &kp MINUS &kp N1   &kp N2   &kp N3    &kp PLUS
                &trans &trans &trans &trans &trans &trans /**/ &trans &trans &trans &trans &trans &trans
            >;
        };
        NavM {
            bindings = <
                &gui_tab  &kp LS(TAB) &pre_tab &nex_tab &kp PRCNT /**/ &dot_home_mac &n7_pgdn_mac &n8_pgup_mac &n9_end_mac   &kp FSLH   
                &sk LSHFT &sk LALT    &sk LCTL &sk LGUI &kp STAR  /**/ &eql_left_mac &n4_down_mac &n5_up_mac   &n6_right_mac &n0_ret_mac
                &vi_sav   &key_repeat &kp TAB  &kp ESC  &kp QMARK /**/ &kp MINUS     &kp N1       &kp N2       &kp N3        &kp PLUS   
                &trans &trans &trans &trans &trans &trans /**/ &trans &trans &trans &trans &trans &trans
            >;
        };
        Sym {
            bindings = <
                &kp GRAVE         &kp LT            &kp LBKT         &kp RBKT         &kp GT      /**/ &kp HOME &kp PG_DN &kp PG_UP &kp END   &sk RALT   
                &hrm_l LSHFT EXCL &hrm_l LALT GB_AT &hrm_l LGUI LPAR &hrm_l LCTL RPAR &kp GB_HASH /**/ &kp LEFT &kp DOWN  &kp UP    &kp RIGHT &kp RET    
                &kp AMPS          &kp DLLR          &kp LBRC         &kp RBRC         &kp CARET   /**/ &del_wor &kp BSPC  &kp DEL   &kp INS   &kp GB_BSLH
                &trans &trans &trans &trans &trans &trans /**/ &trans &trans &trans &trans &trans &trans
            >;
        };
        SymM {
            bindings = <
                &kp GRAVE         &kp LT            &kp LBKT         &kp RBKT         &kp GT      /**/ &kp HOME &kp PG_DN &kp PG_UP &kp END   &sk RALT   
                &hrm_l LSHFT EXCL &hrm_l LALT GB_AT &hrm_l LCTL LPAR &hrm_l LGUI RPAR &kp GB_HASH /**/ &kp LEFT &kp DOWN  &kp UP    &kp RIGHT &kp RET    
                &kp AMPS          &kp DLLR          &kp LBRC         &kp RBRC         &kp CARET   /**/ &del_wor &kp BSPC  &kp DEL   &kp INS   &kp GB_BSLH
                &trans &trans &trans &trans &trans &trans /**/ &trans &trans &trans &trans &trans &trans
            >;
        };
        Fn {
            bindings = <
                &kp F1    &kp F2   &kp F3   &kp F4   &kp F5  /**/ &kp F6   &kp F7       &kp F8       &kp F9     &kp F10  
                &sk LSHFT &sk LALT &sk LGUI &sk LCTL &kp F11 /**/ &kp F12  &kp C_VOL_DN &kp C_VOL_UP &kp C_MUTE &vi_sav  
                &tog SYS  &none    &none    &none    &none   /**/ &kp CAPS &kp C_BRI_DN &kp C_BRI_UP &none      &kp PSCRN
                &trans &trans &trans &trans &trans &trans /**/ &trans &trans &trans &trans &trans &trans
            >;
        };
        FnM {
            bindings = <
                &kp F1    &kp F2   &kp F3   &kp F4   &kp F5  /**/ &kp F6   &kp F7       &kp F8       &kp F9     &kp F10  
                &sk LSHFT &sk LALT &sk LCTL &sk LGUI &kp F11 /**/ &kp F12  &kp C_VOL_DN &kp C_VOL_UP &kp C_MUTE &vi_sav  
                &tog SYS  &none    &none    &none    &none   /**/ &kp CAPS &kp C_BRI_DN &kp C_BRI_UP &none      &kp PSCRN
                &trans &trans &trans &trans &trans &trans /**/ &trans &trans &trans &trans &trans &trans
            >;
        };
        sys {
            bindings = <
                &bt BT_SEL 0 &bt BT_SEL 1 &bt BT_SEL 2 &bt BT_SEL 3 &bt BT_CLR  /**/ &bt BT_CLR_ALL &none &none &none    &tog GAME
                &none        &none        &kp C_BRI_UP &kp C_BRI_DN &sys_reset  /**/ &sys_reset     &none &none &tog QWM &tog QW  
                &out OUT_BLE &out OUT_USB &none        &none        &bootloader /**/ &bootloader    &none &none &none    &tog GRM 
                &trans &trans &trans &trans &trans &trans /**/ &trans &trans &trans &trans &trans &trans
            >;
        };
    };
};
